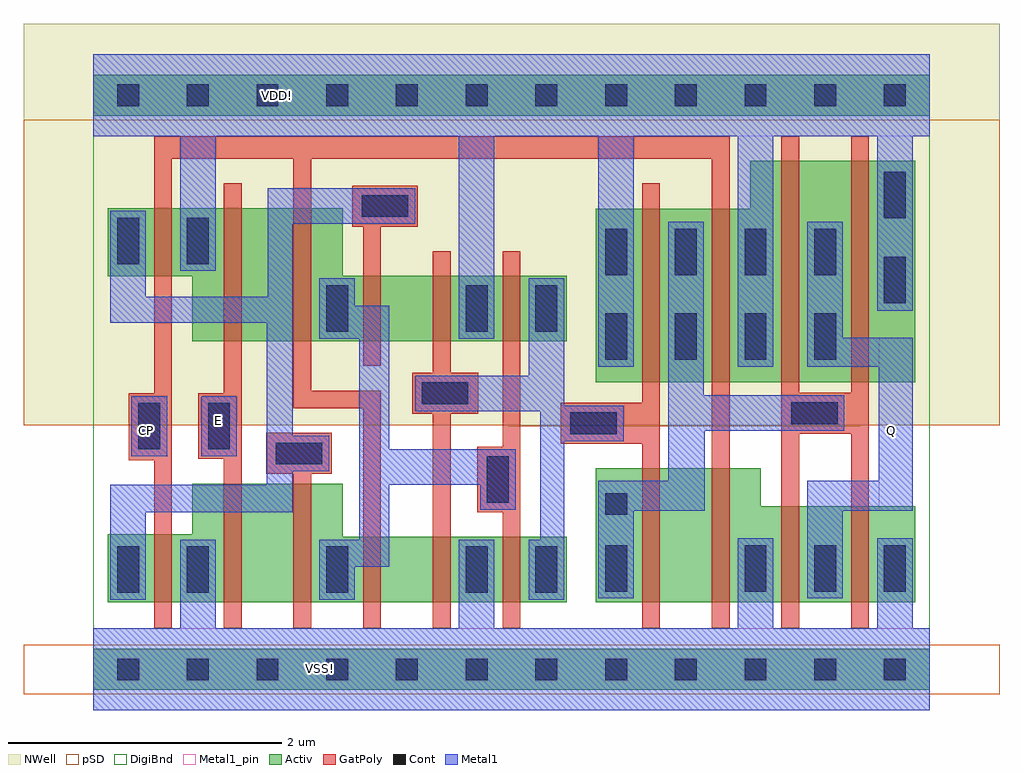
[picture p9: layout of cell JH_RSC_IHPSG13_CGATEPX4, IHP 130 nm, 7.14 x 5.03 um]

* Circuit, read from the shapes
.subckt JH_RSC_IHPSG13_CGATEPX4 CP E Q VDD! VSS!
XM1 VSS! CP n1 VSS! sg13_lv_nmos w=0.5u l=0.13u
XM2 n2 E VSS! VSS! sg13_lv_nmos w=0.87u l=0.13u
XM3 n3 n1 n2 VSS! sg13_lv_nmos w=0.87u l=0.13u
XM4 n4 CP n3 VSS! sg13_lv_nmos w=0.48u l=0.13u
XM5 VSS! n5 n4 VSS! sg13_lv_nmos w=0.48u l=0.13u
XM6 n5 n3 VSS! VSS! sg13_lv_nmos w=0.48u l=0.13u
XM7 n6 n5 n7 VSS! sg13_lv_nmos w=0.98u l=0.13u
XM8 VSS! CP n6 VSS! sg13_lv_nmos w=0.98u l=0.13u
XM9 Q n7 VSS! VSS! sg13_lv_nmos w=0.705u l=0.13u m=2
XM10 VDD! CP n1 VDD! sg13_lv_pmos w=0.5u l=0.13u
XM11 n8 E VDD! VDD! sg13_lv_pmos w=0.975u l=0.13u
XM12 n3 CP n8 VDD! sg13_lv_pmos w=0.975u l=0.13u
XM13 n9 n1 n3 VDD! sg13_lv_pmos w=0.48u l=0.13u
XM14 VDD! n5 n9 VDD! sg13_lv_pmos w=0.48u l=0.13u
XM15 n5 n3 VDD! VDD! sg13_lv_pmos w=0.48u l=0.13u
XM16 n7 n5 VDD! VDD! sg13_lv_pmos w=1.27u l=0.13u
XM17 VDD! CP n7 VDD! sg13_lv_pmos w=1.27u l=0.13u
XM18 Q n7 VDD! VDD! sg13_lv_pmos w=1.62u l=0.13u m=2
.ends

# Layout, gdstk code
import gdstk
lib = gdstk.Library(unit=1e-6, precision=1e-09)
def R(c, l, rs):  # rectangles x0, y0, x1, y1
    for r in rs: c.add(gdstk.rectangle(r[:2], r[2:], *l))
def A(c, l, x, y, w, h, nx, ny, dx, dy):  # array of equal rectangles
    R(c, l, [(x+i*dx, y+j*dy, x+i*dx+w, y+j*dy+h) for i in range(nx) for j in range(ny)])
def P(c, l, *ps):  # polygons
    for p in ps: c.add(gdstk.Polygon(p, *l))
Activ = (1, 0)
GatPoly = (5, 0)
Cont = (6, 0)
Metal1 = (8, 0)
Metal1_pin = (8, 2)
pSD = (14, 0)
DigiBnd = (16, 0)
NWell = (31, 0)

jh_rsc_ihpsg13_cgatepx4 = lib.new_cell('JH_RSC_IHPSG13_CGATEPX4')
R(jh_rsc_ihpsg13_cgatepx4, Activ, [(0,-0.15,6.12,0.15), (0,4.05,6.12,4.35)])
P(jh_rsc_ihpsg13_cgatepx4, Activ, [(3.675,2.1),(3.675,3.37),(4.805,3.37),(4.805,3.72),(6.015,3.72),(6.015,2.1)],
  [(3.675,0.49),(3.675,1.47),(4.885,1.47),(4.885,1.195),(6.015,1.195),(6.015,0.49)],
  [(0.725,2.4),(0.725,2.875),(0.105,2.875),(0.105,3.375),(1.825,3.375),(1.825,2.88),(3.465,2.88),(3.465,2.4)],
  [(0.105,0.49),(0.105,0.99),(0.725,0.99),(0.725,1.36),(1.825,1.36),(1.825,0.97),(3.465,0.97),(3.465,0.49)])
P(jh_rsc_ihpsg13_cgatepx4, GatPoly, [(0.955,0.3),(0.955,1.54),(0.77,1.54),(0.77,2.02),(0.955,2.02),(0.955,3.555),(1.085,3.555),(1.085,0.3)],
  [(2.485,0.3),(2.485,1.87),(2.335,1.87),(2.335,2.17),(2.485,2.17),(2.485,3.06),(2.615,3.06),(2.615,2.17),(2.815,2.17),(2.815,1.87),(2.615,1.87),(2.615,0.3)],
  [(1.465,0.3),(1.465,1.43),(1.265,1.43),(1.265,1.73),(1.745,1.73),(1.745,1.43),(1.595,1.43),(1.595,0.3)],
  [(5.035,0.3),(5.035,3.9),(5.165,3.9),(5.165,2.025),(5.545,2.025),(5.545,3.9),(5.675,3.9),(5.675,0.3),(5.545,0.3),(5.545,1.725),(5.165,1.725),(5.165,0.3)],
  [(0.445,0.3),(0.445,1.53),(0.26,1.53),(0.26,2.02),(0.445,2.02),(0.445,3.9),(4.655,3.9),(4.655,0.3),(4.525,0.3),(4.525,3.735),(1.595,3.735),(1.595,2.04),(2.105,2.04),(2.105,0.3),(1.975,0.3),(1.975,1.91),(1.465,1.91),(1.465,3.735),(0.575,3.735),(0.575,0.3)],
  [(2.995,0.3),(2.995,1.15),(2.81,1.15),(2.81,1.63),(2.995,1.63),(2.995,3.06),(3.125,3.06),(3.125,0.3)],
  [(4.015,0.3),(4.015,1.65),(3.42,1.65),(3.42,1.95),(4.015,1.95),(4.015,3.555),(4.145,3.555),(4.145,0.3)],
  [(1.975,2.22),(1.975,3.24),(1.895,3.24),(1.895,3.54),(2.375,3.54),(2.375,3.24),(2.105,3.24),(2.105,2.22)])
A(jh_rsc_ihpsg13_cgatepx4, Cont, 0.175, -0.08, 0.16, 0.16, 12, 2, 0.51, 4.2)
A(jh_rsc_ihpsg13_cgatepx4, Cont, 0.685, 0.56, 0.16, 0.34, 3, 1, 1.02, 0)
A(jh_rsc_ihpsg13_cgatepx4, Cont, 4.765, 0.57, 0.16, 0.34, 3, 1, 0.51, 0)
A(jh_rsc_ihpsg13_cgatepx4, Cont, 3.745, 2.265, 0.16, 0.34, 4, 2, 0.51, 0.62)
R(jh_rsc_ihpsg13_cgatepx4, Cont, [(0.175,0.56,0.335,0.9), (3.235,0.56,3.395,0.9), (3.745,0.57,3.905,0.91), (3.745,1.13,3.905,1.29), (2.88,1.22,3.04,1.56), (1.335,1.5,1.675,1.66), (0.33,1.61,0.49,1.95), (0.84,1.61,1,1.95), (3.49,1.72,3.83,1.88), (5.105,1.795,5.445,1.955), (2.405,1.94,2.745,2.1), (1.705,2.47,1.865,2.81), (2.725,2.47,2.885,2.81), (3.235,2.47,3.395,2.81), (5.785,2.68,5.945,3.02), (0.175,2.965,0.335,3.305), (0.685,2.965,0.845,3.305), (5.785,3.3,5.945,3.64), (1.965,3.31,2.305,3.47)])
R(jh_rsc_ihpsg13_cgatepx4, Metal1, [(0.28,1.56,0.54,2), (0.79,1.56,1.05,2)])
P(jh_rsc_ihpsg13_cgatepx4, Metal1, [(5.225,0.52),(5.225,1.38),(5.745,1.38),(5.745,2.215),(5.225,2.215),(5.225,3.275),(5.485,3.275),(5.485,2.425),(5.995,2.425),(5.995,1.16),(5.485,1.16),(5.485,0.52)],
  [(0.125,0.51),(0.125,1.35),(1.27,1.35),(1.27,2.535),(0.125,2.535),(0.125,3.355),(0.385,3.355),(0.385,2.725),(1.275,2.725),(1.275,3.52),(2.355,3.52),(2.355,3.26),(1.46,3.26),(1.46,1.71),(1.725,1.71),(1.725,1.45),(1.46,1.45),(1.46,1.15),(0.385,1.15),(0.385,0.51)],
  [(3.185,0.51),(3.185,0.95),(3.27,0.95),(3.27,1.89),(2.355,1.89),(2.355,2.15),(3.185,2.15),(3.185,2.86),(3.445,2.86),(3.445,1.93),(3.88,1.93),(3.88,1.67),(3.445,1.67),(3.445,0.51)],
  [(3.695,0.52),(3.695,1.38),(4.205,1.38),(4.205,3.275),(4.465,3.275),(4.465,2.005),(5.495,2.005),(5.495,1.745),(4.475,1.745),(4.475,1.16),(3.955,1.16),(3.955,0.52)],
  [(1.655,0.51),(1.655,0.95),(1.945,0.95),(1.945,2.42),(1.655,2.42),(1.655,2.86),(1.915,2.86),(1.915,2.66),(2.165,2.66),(2.165,1.61),(3.09,1.61),(3.09,1.17),(2.83,1.17),(2.83,1.35),(2.165,1.35),(2.165,0.75),(1.915,0.75),(1.915,0.51)],
  [(3.695,2.215),(3.695,3.9),(2.935,3.9),(2.935,2.42),(2.675,2.42),(2.675,3.9),(0.895,3.9),(0.895,2.915),(0.635,2.915),(0.635,3.9),(0,3.9),(0,4.5),(6.12,4.5),(6.12,3.9),(5.995,3.9),(5.995,2.625),(5.735,2.625),(5.735,3.9),(4.975,3.9),(4.975,2.215),(4.715,2.215),(4.715,3.9),(3.955,3.9),(3.955,2.215)],
  [(0,-0.3),(0,0.3),(0.635,0.3),(0.635,0.95),(0.895,0.95),(0.895,0.3),(2.675,0.3),(2.675,0.95),(2.935,0.95),(2.935,0.3),(4.715,0.3),(4.715,0.96),(4.975,0.96),(4.975,0.3),(5.735,0.3),(5.735,0.96),(5.995,0.96),(5.995,0.3),(6.12,0.3),(6.12,-0.3)])
R(jh_rsc_ihpsg13_cgatepx4, Metal1_pin, [(0,-0.3,6.12,0.3), (5.745,1.16,5.995,2.425), (0.28,1.56,0.54,2), (0.79,1.56,1.05,2), (0,3.9,6.12,4.5)])
R(jh_rsc_ihpsg13_cgatepx4, pSD, [(-0.51,-0.18,6.63,0.18)])
P(jh_rsc_ihpsg13_cgatepx4, pSD, [(3.035,1.78),(3.035,1.785),(-0.51,1.785),(-0.51,4.02),(6.63,4.02),(6.63,1.785),(5.61,1.785),(5.61,1.78)])
R(jh_rsc_ihpsg13_cgatepx4, DigiBnd, [(0,-0.3,6.12,4.5)])
R(jh_rsc_ihpsg13_cgatepx4, NWell, [(-0.51,1.785,6.63,4.725)])
jh_rsc_ihpsg13_cgatepx4.add(gdstk.Label('Q', (5.84,1.75), layer=8, texttype=2))
jh_rsc_ihpsg13_cgatepx4.add(gdstk.Label('VDD!', (1.35,4.2), layer=8, texttype=2))
jh_rsc_ihpsg13_cgatepx4.add(gdstk.Label('VSS!', (1.665,0.005), layer=8, texttype=2))
jh_rsc_ihpsg13_cgatepx4.add(gdstk.Label('CP', (0.39,1.75), layer=8, texttype=2))
jh_rsc_ihpsg13_cgatepx4.add(gdstk.Label('E', (0.92,1.82), layer=8, texttype=2))

lib.write_gds('JH_RSC_IHPSG13_CGATEPX4.gds')
